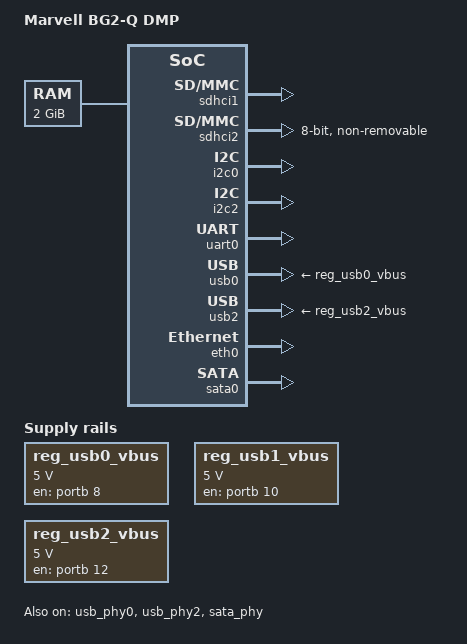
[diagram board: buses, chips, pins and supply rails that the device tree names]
/*
 * Copyright (C) 2014 Antoine Ténart <antoine.tenart@free-electrons.com>
 *
 * This file is dual-licensed: you can use it either under the terms
 * of the GPL or the X11 license, at your option. Note that this dual
 * licensing only applies to this file, and not this project as a
 * whole.
 *
 *  a) This file is licensed under the terms of the GNU General Public
 *     License version 2. This program is licensed "as is" without any
 *     warranty of any kind, whether express or implied.
 *
 * Or, alternatively,
 *
 *  b) Permission is hereby granted, free of charge, to any person
 *     obtaining a copy of this software and associated documentation
 *     files (the "Software"), to deal in the Software without
 *     restriction, including without limitation the rights to use,
 *     copy, modify, merge, publish, distribute, sublicense, and/or
 *     sell copies of the Software, and to permit persons to whom the
 *     Software is furnished to do so, subject to the following
 *     conditions:
 *
 *     The above copyright notice and this permission notice shall be
 *     included in all copies or substantial portions of the Software.
 *
 *     THE SOFTWARE IS PROVIDED "AS IS", WITHOUT WARRANTY OF ANY KIND,
 *     EXPRESS OR IMPLIED, INCLUDING BUT NOT LIMITED TO THE WARRANTIES
 *     OF MERCHANTABILITY, FITNESS FOR A PARTICULAR PURPOSE AND
 *     NONINFRINGEMENT. IN NO EVENT SHALL THE AUTHORS OR COPYRIGHT
 *     HOLDERS BE LIABLE FOR ANY CLAIM, DAMAGES OR OTHER LIABILITY,
 *     WHETHER IN AN ACTION OF CONTRACT, TORT OR OTHERWISE, ARISING
 *     FROM, OUT OF OR IN CONNECTION WITH THE SOFTWARE OR THE USE OR
 *     OTHER DEALINGS IN THE SOFTWARE.
 */

/dts-v1/;

#include <dt-bindings/gpio/gpio.h>
#include "berlin2q.dtsi"

/ {
	model = "Marvell BG2-Q DMP";
	compatible = "marvell,berlin2q-dmp", "marvell,berlin2q", "marvell,berlin";

	memory {
		device_type = "memory";
		reg = <0x00000000 0x80000000>;
	};

	choosen {
		bootargs = "earlyprintk";
		stdout-path = "serial0:115200n8";
	};

	regulators {
		compatible = "simple-bus";
		#address-cells = <1>;
		#size-cells = <0>;

		reg_usb0_vbus: regulator@0 {
			compatible = "regulator-fixed";
			regulator-name = "usb0_vbus";
			regulator-min-microvolt = <5000000>;
			regulator-max-microvolt = <5000000>;
			gpio = <&portb 8 GPIO_ACTIVE_HIGH>;
			enable-active-high;
		};

		reg_usb1_vbus: regulator@1 {
			compatible = "regulator-fixed";
			regulator-name = "usb1_vbus";
			regulator-min-microvolt = <5000000>;
			regulator-max-microvolt = <5000000>;
			gpio = <&portb 10 GPIO_ACTIVE_HIGH>;
			enable-active-high;
		};

		reg_usb2_vbus: regulator@2 {
			compatible = "regulator-fixed";
			regulator-name = "usb2_vbus";
			regulator-min-microvolt = <5000000>;
			regulator-max-microvolt = <5000000>;
			gpio = <&portb 12 GPIO_ACTIVE_HIGH>;
			enable-active-high;
		};
	};
};

&sdhci1 {
	broken-cd;
	sdhci,wp-inverted;
	status = "okay";
};

&sdhci2 {
	broken-cd;
	bus-width = <8>;
	non-removable;
	status = "okay";
};

&i2c0 {
	status = "okay";
};

&i2c2 {
	status = "okay";
};

&uart0 {
	status = "okay";
};

&usb_phy0 {
	status = "okay";
};

&usb_phy2 {
	status = "okay";
};

&usb0 {
	vbus-supply = <&reg_usb0_vbus>;
	status = "okay";
};

&usb2 {
	vbus-supply = <&reg_usb2_vbus>;
	status = "okay";
};

&eth0 {
	status = "okay";
};

&sata0 {
	status = "okay";
};

&sata_phy {
	status = "okay";
};
